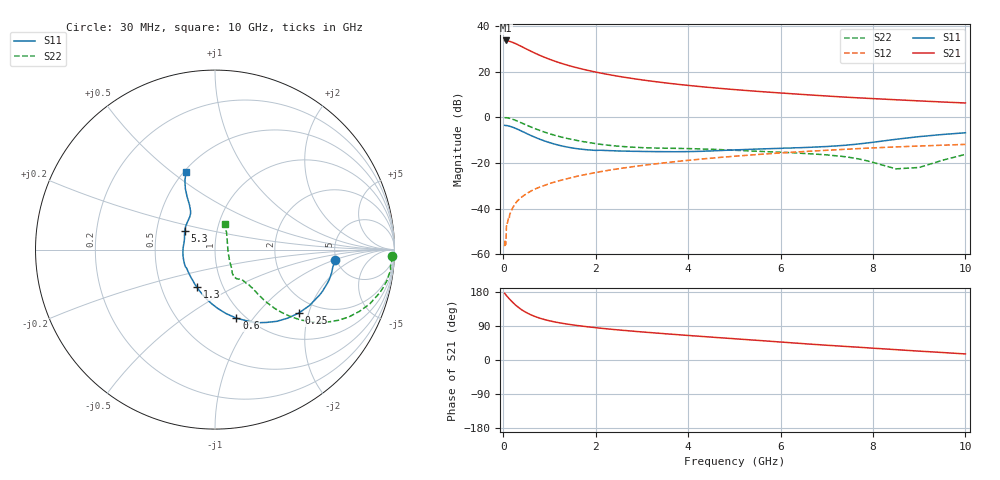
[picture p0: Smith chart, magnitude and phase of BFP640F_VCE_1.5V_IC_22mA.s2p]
! Infineon Technologies  Discrete & RF Semiconductors
! BFP640F
! VCE =  1.5 V,  IC =  22 mA
! Common Emitter S-Parameters:  Apr 2013
# GHz  S  MA  R  50
!  f  S11  S21  S12  S22
! GHz  MAG  ANG  MAG  ANG  MAG  ANG  MAG  ANG
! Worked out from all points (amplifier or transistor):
!   99 points, 30 MHz to 10 GHz, reference 50 ohm
!   highest |S21| = 33.7 dB at 50 MHz (marker M1)
!   |S21| within 3 dB of that: start of sweep to 429.2 MHz
!   unconditionally stable (mu >= 1): 2.139 GHz to end of sweep
!   at 350 MHz: K = 0.39, MSG = 33.7 dB, |S12| = -35.8 dB
!   at 3.5 GHz: K = 1.05, MAG = 16.1 dB, |S12| = -19.9 dB
!   at 10 GHz: K = 1.05, MAG = 7.8 dB, |S12| = -11.8 dB
!   S11 on the Smith chart (normalised r, x): 30 MHz: 4.86, -1.01; 250 MHz: 1.60, -1.73; 600 MHz: 0.91, -0.83; 1.3 GHz: 0.75, -0.33; 5.3 GHz: 0.70, +0.15; 10 GHz: 0.51, +0.56
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0.03  0.6708 -4.9  48.23 176.0  0.0015 97.5  0.9856 -2.2
0.05  0.6637 -8.3  48.68 173.1  0.0016 45.5  0.9837 -4.7
0.12  0.647 -19.0  47.11 162.9  0.0063 78.7  0.965 -11.9
0.15  0.6348 -23.6  46.16 159.0  0.0078 80.9  0.948 -14.8
0.2  0.6118 -30.6  44.29 152.7  0.0102 79.1  0.914 -19.3
0.25  0.5854 -37.2  42.2 146.9  0.0124 76.4  0.8749 -23.2
0.3  0.5558 -43.5  40.08 141.6  0.0145 76.8  0.8347 -26.7
0.4  0.4977 -54.6  35.72 132.5  0.0179 72.5  0.7531 -32.3
0.5  0.446 -64.1  31.7 125.2  0.0211 70.2  0.6807 -36.4
0.6  0.4005 -72.6  28.24 119.1  0.0243 69.1  0.6159 -39.5
0.7  0.3621 -80.1  25.28 114.2  0.0272 68.6  0.561 -41.6
0.9  0.3032 -93.3  20.66 106.5  0.0324 67.8  0.4732 -44.4
1.1  0.2616 -105.0  17.33 100.8  0.0379 67.5  0.4088 -45.6
1.3  0.2326 -115.6  14.87 96.4  0.0432 67.4  0.3617 -46.0
1.7  0.2003 -134.3  11.55 89.5  0.0539 66.5  0.2977 -45.8
2.4  0.1852 -159.8  8.275 80.4  0.0724 64.4  0.2382 -47.6
3.4  0.1777 175.5  5.892 70.3  0.0985 60.1  0.2116 -50.7
5.1  0.1952 150.0  4.003 55.2  0.1431 51.7  0.1886 -54.5
5.3  0.1985 147.8  3.86 53.5  0.1482 50.6  0.1844 -54.5
6.7  0.2225 131.6  3.079 41.4  0.1829 42.5  0.1577 -52.9
8.5  0.3314 117.9  2.437 27.3  0.2255 31.8  0.0744 -11.5
10  0.4602 110.6  2.071 16.0  0.2561 23.0  0.1548 69.9
